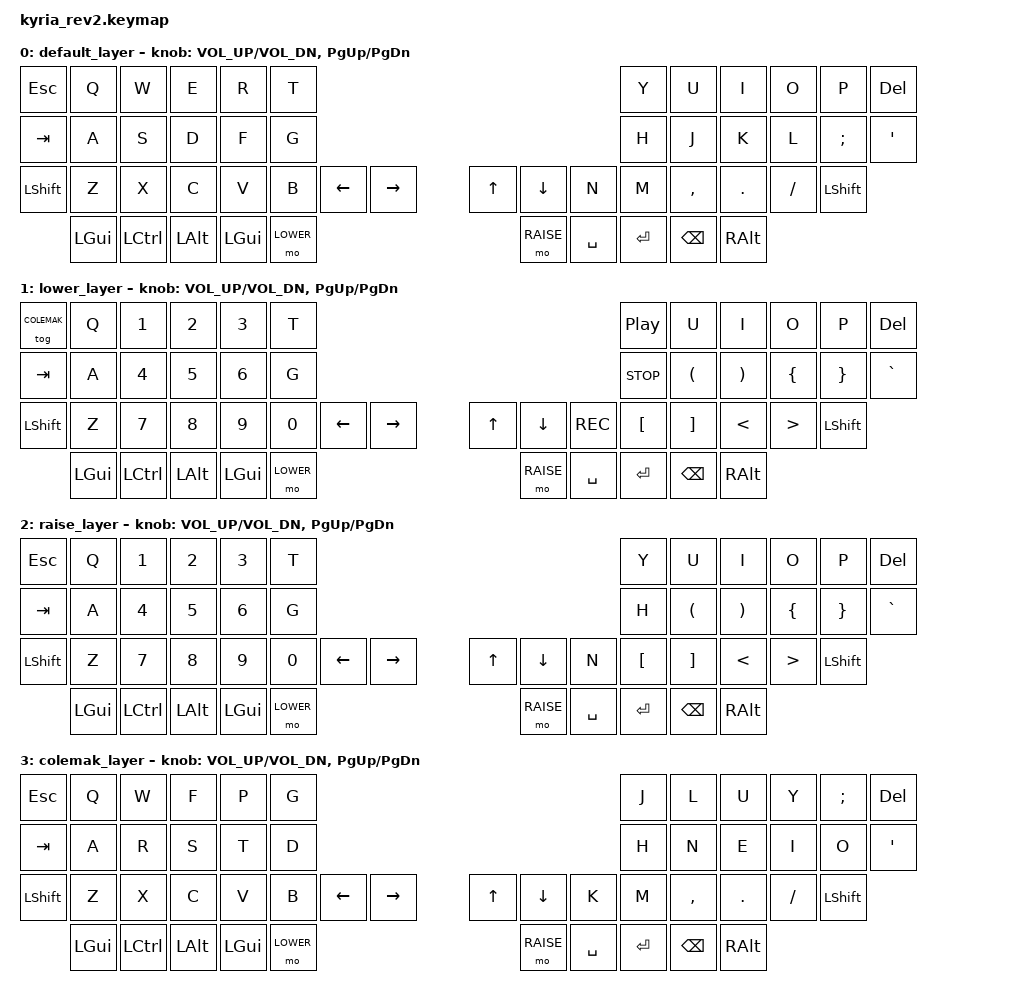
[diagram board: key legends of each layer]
/*
 * Copyright (c) 2020 The ZMK Contributors
 *
 * SPDX-License-Identifier: MIT
 */

#include <behaviors.dtsi>
#include <dt-bindings/zmk/keys.h>

#define DEFAULT 0
#define LOWER   1
#define RAISE   2
#define COLEMAK 3

/ {
	keymap {
		compatible = "zmk,keymap";

		default_layer {
/*	QWERTY	
* .---------------------------------------------------------------------------------------------------------------------------.
* |  ESC  |  Q  |  W  |  E   |  R   |  T   |                                   |  Y    |  U    |  I    |  O   |   P  | DELETE |
* |---------------------------------------------------------------------------------------------------------------------------|
* |  TAB  |  A  |  S  |  D   |  F   |  G   |                                   |  H    |  J    |  K    |  L   |   ;  |   '    |
* |---------------------------------------------------------------------------------------------------------------------------|
* | SHIFT |  Z  |  X  |  C   |  V   |  B   | LEFT | RIGHT |    |  UP   | DOWN  |  N    |  M    |  ,    |  .   |   /  | SHIFT  |
* |---------------------------------------------------------------------------------------------------------------------------|
* |                   | GUI  | CTRL | LALT | LGUI | LOWER |    | RAISE | SPACE | ENTER | BSPC  | R-ALT |                      |
* .---------------------------------------------------------------------------------------------------------------------------.
*/
			bindings = <
	&kp ESC   &kp Q &kp W &kp E &kp R &kp T                                                &kp Y &kp U  &kp I     &kp O   &kp P    &kp DELETE
	&kp TAB   &kp A &kp S &kp D &kp F &kp G                                                &kp H &kp J  &kp K     &kp L   &kp SEMI &kp SQT
	&kp LSHFT &kp Z &kp X &kp C &kp V &kp B &kp LEFT &kp RIGHT         &kp UP &kp DOWN &kp N &kp M  &kp COMMA &kp DOT &kp FSLH &kp LSHFT
	            &kp LGUI &kp LCTRL &kp LALT &kp LGUI &mo LOWER         &mo RAISE  &kp SPACE  &kp ENTER &kp BSPC &kp RALT
			>;

			sensor-bindings = <&inc_dec_kp C_VOL_UP C_VOL_DN &inc_dec_kp PG_UP PG_DN>;
		};
		

 		lower_layer {
/*	QWERTY		
* .---------------------------------------------------------------------------------------------------------------------------.
* |  Toggle Colemak |  Q  |  W  |  E   |  R   |  T  |                                    | Play/pause |  U   |  I  |  O  |  P  | DELETE |
* |---------------------------------------------------------------------------------------------------------------------------|
* |  TAB  |  A  |  S  |  D   |  F   |  G  |                                         |  STOP |  (   |  )  |  {  |  }  |   `    |
* |---------------------------------------------------------------------------------------------------------------------------|
* | SHIFT |  Z  |  X  |  C   |  V   |  B  | LEFT  | RIGHT |         |  UP   | DOWN  | RECORD |  [   |  ]  |  <  |  >  | SHIFT  |
* |---------------------------------------------------------------------------------------------------------------------------|
* |                   | GUI  | CTRL | ALT | SPACE | LOWER |         | RAISE | SPACE | ENTER | BSPC | ALT |                    |
* .---------------------------------------------------------------------------------------------------------------------------.
*/
 			bindings = <
 	&tog COLEMAK &kp Q &kp N1 &kp N2 &kp N3 &kp T                                                &kp C_PP &kp U  &kp I     &kp O   &kp P    &kp DELETE
 	&kp TAB   &kp A &kp N4 &kp N5 &kp N6 &kp G                                                &kp C_STOP &kp LPAR &kp RPAR &kp LBRC &kp RBRC &kp GRAVE
 	&kp LSHFT &kp Z &kp N7 &kp N8 &kp N9 &kp N0 &kp LEFT &kp RIGHT         &kp UP &kp DOWN &kp C_REC &kp LBKT &kp RBKT &kp LT &kp GT &kp LSHFT
	                &kp LGUI &kp LCTRL &kp LALT &kp LGUI &mo LOWER         &mo RAISE  &kp SPACE  &kp ENTER &kp BSPC &kp RALT
 			>;

 			sensor-bindings = <&inc_dec_kp C_VOL_UP C_VOL_DN &inc_dec_kp PG_UP PG_DN>;
 		};

 		raise_layer {
/*	QWERTY		
* .---------------------------------------------------------------------------------------------------------------------------.
* |  ESC  |  Q  |  W  |  E   |  R   |  T  |                                         |  Y    |  U   |  I  |  O  |  P  | DELETE |
* |---------------------------------------------------------------------------------------------------------------------------|
* |  TAB  |  A  |  S  |  D   |  F   |  G  |                                         |  H    |  (   |  )  |  {  |  }  |   `    |
* |---------------------------------------------------------------------------------------------------------------------------|
* | SHIFT |  Z  |  X  |  C   |  V   |  B  | LEFT  | RIGHT |         |  UP   | DOWN  |  N    |  [   |  ]  |  <  |  >  | SHIFT  |
* |---------------------------------------------------------------------------------------------------------------------------|
* |                   | GUI  | CTRL | ALT | SPACE | LOWER |         | RAISE | SPACE | ENTER | BSPC | ALT |                    |
* .---------------------------------------------------------------------------------------------------------------------------.
*/
 			bindings = <
 	&kp ESC   &kp Q &kp N1 &kp N2 &kp N3 &kp T                                                &kp Y &kp U  &kp I     &kp O   &kp P    &kp DELETE
 	&kp TAB   &kp A &kp N4 &kp N5 &kp N6 &kp G                                                &kp H &kp LPAR &kp RPAR &kp LBRC &kp RBRC &kp GRAVE
 	&kp LSHFT &kp Z &kp N7 &kp N8 &kp N9 &kp N0 &kp LEFT &kp RIGHT         &kp UP &kp DOWN &kp N &kp LBKT &kp RBKT &kp LT &kp GT &kp LSHFT
	                &kp LGUI &kp LCTRL &kp LALT &kp LGUI &mo LOWER         &mo RAISE  &kp SPACE  &kp ENTER &kp BSPC &kp RALT
 			>;

 			sensor-bindings = <&inc_dec_kp C_VOL_UP C_VOL_DN &inc_dec_kp PG_UP PG_DN>;
 		};


		colemak_layer {
/*	COLEMAK	
* .---------------------------------------------------------------------------------------------------------------------------.
* |  ESC  |  Q  |  W  |  F   |  P   |  G   |                                   |  J    |  L    |  U    |  Y   |   ;  | DELETE |
* |---------------------------------------------------------------------------------------------------------------------------|
* |  TAB  |  A  |  R  |  S   |  T   |  D   |                                   |  H    |  N    |  E    |  I   |   O  |   '    |
* |---------------------------------------------------------------------------------------------------------------------------|
* | SHIFT |  Z  |  X  |  C   |  V   |  B   | LEFT | RIGHT |    |  UP   | DOWN  |  K    |  M    |  ,    |  .   |   /  | SHIFT  |
* |---------------------------------------------------------------------------------------------------------------------------|
* |                   | GUI  | CTRL | LALT | LGUI | LOWER |    | RAISE | SPACE | ENTER | BSPC  | R-ALT |                      |
* .---------------------------------------------------------------------------------------------------------------------------.
*/
			bindings = <
	&kp ESC   &kp Q &kp W &kp F &kp P &kp G                                                &kp J &kp L  &kp U     &kp Y   &kp SEMI    &kp DELETE
	&kp TAB   &kp A &kp R &kp S &kp T &kp D                                                &kp H &kp N  &kp E     &kp I   &kp O &kp SQT
	&kp LSHFT &kp Z &kp X &kp C &kp V &kp B &kp LEFT &kp RIGHT         &kp UP &kp DOWN &kp K &kp M  &kp COMMA &kp DOT &kp FSLH &kp LSHFT
	            &kp LGUI &kp LCTRL &kp LALT &kp LGUI &mo LOWER         &mo RAISE  &kp SPACE  &kp ENTER &kp BSPC &kp RALT
			>;

			sensor-bindings = <&inc_dec_kp C_VOL_UP C_VOL_DN &inc_dec_kp PG_UP PG_DN>;
		};
	};
};
